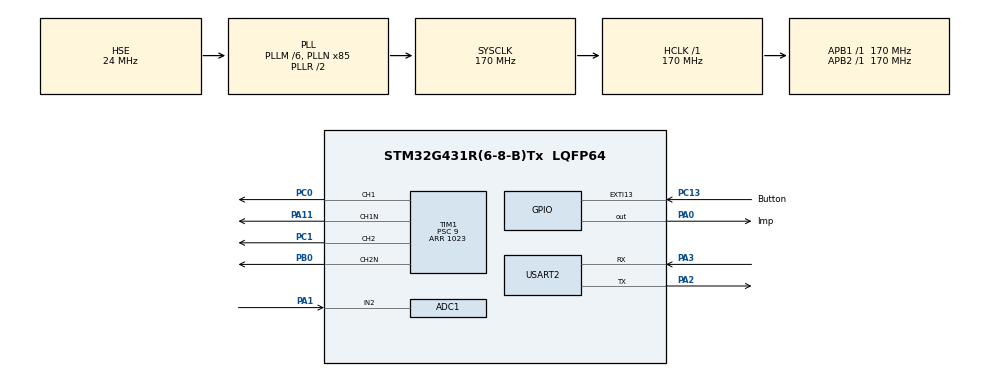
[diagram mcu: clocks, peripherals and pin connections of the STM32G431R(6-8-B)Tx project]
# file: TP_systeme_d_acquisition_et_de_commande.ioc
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ADC1.Channel-0\#ChannelRegularConversion=ADC_CHANNEL_2
ADC1.Channel-1\#ChannelRegularConversion=ADC_CHANNEL_2
ADC1.ExternalTrigConv=ADC_EXTERNALTRIG_T1_TRGO
ADC1.NbrOfConversion=2
ADC1.NbrOfConversionFlag=1
ADC1.OffsetNumber-0\#ChannelRegularConversion=ADC_OFFSET_NONE
ADC1.OffsetNumber-1\#ChannelRegularConversion=ADC_OFFSET_NONE
ADC1.Rank-0\#ChannelRegularConversion=1
ADC1.Rank-1\#ChannelRegularConversion=2
ADC1.SamplingTime-0\#ChannelRegularConversion=ADC_SAMPLETIME_12CYCLES_5
ADC1.SamplingTime-1\#ChannelRegularConversion=ADC_SAMPLETIME_12CYCLES_5
ADC1.master=1
Dma.ADC1.0.Direction=DMA_PERIPH_TO_MEMORY
Dma.ADC1.0.EventEnable=DISABLE
Dma.ADC1.0.Instance=DMA1_Channel2
Dma.ADC1.0.MemDataAlignment=DMA_MDATAALIGN_HALFWORD
Dma.ADC1.0.MemInc=DMA_MINC_ENABLE
Dma.ADC1.0.Mode=DMA_NORMAL
Dma.ADC1.0.PeriphDataAlignment=DMA_PDATAALIGN_HALFWORD
Dma.ADC1.0.PeriphInc=DMA_PINC_DISABLE
Dma.ADC1.0.Polarity=HAL_DMAMUX_REQ_GEN_RISING
Dma.ADC1.0.Priority=DMA_PRIORITY_LOW
Dma.ADC1.0.RequestNumber=1
Dma.ADC1.0.SignalID=NONE
Dma.ADC1.0.SyncEnable=DISABLE
Dma.ADC1.0.SyncPolarity=HAL_DMAMUX_SYNC_NO_EVENT
Dma.ADC1.0.SyncRequestNumber=1
Dma.ADC1.0.SyncSignalID=NONE
Dma.Request0=ADC1
Mcu.Family=STM32G4
Mcu.Name=STM32G431R(6-8-B)Tx
Mcu.Package=LQFP64
NVIC.DMA1_Channel2_IRQn=true\:0\:0\:false\:false\:true\:false\:true
NVIC.EXTI15_10_IRQn=true\:0\:0\:false\:false\:true\:true\:true
NVIC.PriorityGroup=NVIC_PRIORITYGROUP_4
NVIC.USART2_IRQn=true\:0\:0\:false\:false\:true\:true\:true
PA0.GPIO_Label=Imp
PA0.Signal=GPIO_Output
PA1.Mode=IN2-Single-Ended
PA1.Signal=ADC1_IN2
PA11.Mode=PWM Generation1 CH1 CH1N
PA11.Signal=TIM1_CH1N
PA13.Mode=Serial_Wire
PA13.Signal=SYS_JTMS-SWDIO
PA14.Mode=Serial_Wire
PA14.Signal=SYS_JTCK-SWCLK
PA2.Mode=Asynchronous
PA2.Signal=USART2_TX
PA3.Mode=Asynchronous
PA3.Signal=USART2_RX
PB0.Mode=PWM Generation2 CH2 CH2N
PB0.Signal=TIM1_CH2N
PC0.Signal=S_TIM1_CH1
PC1.Signal=S_TIM1_CH2
PC13.GPIO_Label=Button
PC13.Signal=GPXTI13
PF0-OSC_IN.Mode=HSE-External-Oscillator
PF0-OSC_IN.Signal=RCC_OSC_IN
PF1-OSC_OUT.Mode=HSE-External-Oscillator
PF1-OSC_OUT.Signal=RCC_OSC_OUT
ProjectManager.HeapSize=0x200
ProjectManager.StackSize=0x400
ProjectManager.TargetToolchain=STM32CubeIDE
RCC.ADC12Freq_Value=170000000
RCC.AHBFreq_Value=170000000
RCC.APB1Freq_Value=170000000
RCC.APB1TimFreq_Value=170000000
RCC.APB2Freq_Value=170000000
RCC.APB2TimFreq_Value=170000000
RCC.CortexFreq_Value=170000000
RCC.EXTERNAL_CLOCK_VALUE=12288000
RCC.HCLKFreq_Value=170000000
RCC.HSE_VALUE=24000000
RCC.HSI48_VALUE=48000000
RCC.HSI_VALUE=16000000
RCC.LSE_VALUE=32768
RCC.PLLM=RCC_PLLM_DIV6
RCC.PLLN=85
RCC.PLLSourceVirtual=RCC_PLLSOURCE_HSE
RCC.RTCClockSelection=RCC_RTCCLKSOURCE_LSE
RCC.SYSCLKFreq_VALUE=170000000
RCC.SYSCLKSource=RCC_SYSCLKSOURCE_PLLCLK
RCC.USBFreq_Value=170000000
RCC.VCOOutputFreq_Value=340000000
SH.S_TIM1_CH1.0=TIM1_CH1,PWM Generation1 CH1 CH1N
SH.S_TIM1_CH2.0=TIM1_CH2,PWM Generation2 CH2 CH2N
TIM1.Channel-PWM\ Generation1\ CH1\ CH1N=TIM_CHANNEL_1
TIM1.Channel-PWM\ Generation2\ CH2\ CH2N=TIM_CHANNEL_2
TIM1.DeadTime=208
TIM1.PeriodNoDither=1023
TIM1.Prescaler=9
TIM1.PulseNoDither_1=511
TIM1.PulseNoDither_2=511
TIM1.TIM_MasterOutputTrigger=TIM_TRGO_UPDATE
TIM1.TIM_MasterSlaveMode=TIM_MASTERSLAVEMODE_ENABLE
USART2.VirtualMode-Asynchronous=VM_ASYNC
VP_SYS_VS_DBSignals.Mode=DisableDeadBatterySignals
VP_TIM1_VS_ClockSourceINT.Mode=Internal
board=NUCLEO-G431RB

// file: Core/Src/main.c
/* USER CODE BEGIN Header */
/**
 ******************************************************************************
 * @file           : main.c
 * @brief          : Main program body
 ******************************************************************************
 * @attention
 *
 * <h2><center>&copy; Copyright (c) 2021 STMicroelectronics.
 * All rights reserved.</center></h2>
 *
 * This software component is licensed by ST under BSD 3-Clause license,
 * the "License"; You may not use this file except in compliance with the
 * License. You may obtain a copy of the License at:
 *                        opensource.org/licenses/BSD-3-Clause
 *
 ******************************************************************************
 */

/**
 * \file main.c
 * \brief Programme principal.
 * \author Eric.CHASSERGUE & Yohesan J.
 * \date 19 october 2021
 *
 * Programme d'ou les fonctions seront appelées.
 *
 */

/* USER CODE END Header */
#include "main.h"
#include "adc.h"
#include "dma.h"
#include "tim.h"
#include "usart.h"
#include "gpio.h"

/* USER CODE BEGIN Includes */
#include "Commande.h"
/* USER CODE END Includes */

/* USER CODE BEGIN PD */

// tailles des buffers
#define UART_RX_BUFFER_SIZE 50
#define UART_TX_BUFFER_SIZE 50
#define CMD_BUFFER_SIZE 50
/* USER CODE END PD */

/* USER CODE BEGIN PV */

char uart_rx_buffer[UART_RX_BUFFER_SIZE];
char uart_tx_buffer[UART_TX_BUFFER_SIZE];

const uint8_t starting[] = "Bienvenue \r\n";
const uint8_t prompt[]="<user>@Nucleo-G431 >> ";
const uint8_t bonjour[]="\r\nBonjour\r\n";
//const uint8_t prompt2[]="\r\n<user>@Nucleo-G431 >> ";

/**
 * Déclaration pour l'écho.
 */
int it_uart_rx_ready = 0;

/**
 * Déclaration pour la  commande.
 */
char cmd[CMD_BUFFER_SIZE]; //contenant la commande en cours
int idxCmd = 0; //contenant l'index du prochain caractère à remplir

/* USER CODE END PV */

void SystemClock_Config(void);
/* USER CODE BEGIN PFP */
/**
 * Redéfinition du callback.
 */
void HAL_UART_RxCpltCallback(UART_HandleTypeDef *);

/**
 * Prototypes de echo.
 */
void echo(void);

/**
 * Prototypes de stock.
 */
void stock(void);

/* USER CODE END PFP */

/* USER CODE BEGIN 0 */
/**
 * \fn void HAL_UART_RxCpltCallback(UART_HandleTypeDef *huart)
 * \brief Fonction qui change la valeur de it_uart_rx_ready.
 *
 * \param UART_HandleTypeDef *huart.
 */
void HAL_UART_RxCpltCallback(UART_HandleTypeDef *huart){
	if(it_uart_rx_ready==1) it_uart_rx_ready=0;
	else it_uart_rx_ready=1;
}

/**
 * \fn void echo(void)
 * \brief Fonction qui change la valeur de it_uart_rx_ready à 0 et affiche la lettre reçu sur l'écran.
 */
void echo(){
	HAL_UART_Transmit(&huart2, uart_rx_buffer, UART_RX_BUFFER_SIZE, HAL_MAX_DELAY);
	it_uart_rx_ready =0;
}

/**
 * \fn void stock(void)
 * \brief Fonction qui stock la lettre reçu dans le tableau cmd et vérifie si une commande à finie d'être entrée.
 */
void stock(){
	cmd[idxCmd] = uart_rx_buffer[0];
	if(cmd[idxCmd] == '\r') {
		int i = 0;

		commande(cmd);
		//Réinitialisation de la commande enregistré
		for(i=0;i<=idxCmd;i++){
			cmd[i]=0;
		}
		idxCmd = 0;
	}
	else if(cmd[idxCmd] == '\b'){
		idxCmd--;
	}
	else {
		idxCmd++;
	}
}

/**
 * @brief  Conversion complete callback in non-blocking mode.
 * @param hadc ADC handle
 * @retval None
 */

/**
 * \fn int main (void)
 * \brief Entrée du programme.
 */
/* USER CODE END 0 */

int main(void)
{

	/* MCU Configuration--------------------------------------------------------*/

	/* Reset of all peripherals, Initializes the Flash interface and the Systick. */
	HAL_Init();

	/* Configure the system clock */
	SystemClock_Config();

	/* Initialize all configured peripherals */
	MX_GPIO_Init();
	MX_USART2_UART_Init();
	MX_ADC1_Init();
	MX_DMA_Init();
	MX_TIM1_Init();
	/* USER CODE BEGIN 2 */
	//Initialisation des PWM
	HAL_TIM_PWM_Start(&htim1, TIM_CHANNEL_1);
	HAL_TIMEx_PWMN_Start(&htim1, TIM_CHANNEL_1);
	HAL_TIM_PWM_Start(&htim1, TIM_CHANNEL_2);
	HAL_TIMEx_PWMN_Start(&htim1, TIM_CHANNEL_2);

	it_uart_rx_ready = 0;
	idxCmd = 0;

	//Message de bienvenue
	HAL_UART_Transmit(&huart2, starting, sizeof(starting) , HAL_MAX_DELAY);
	HAL_UART_Transmit(&huart2, prompt, sizeof(prompt) , HAL_MAX_DELAY);

	/* USER CODE END 2 */

	/* Infinite loop */
	/* USER CODE BEGIN WHILE */
	while (1)
	{
		// test du bon fonctionnement de l'envoie des données
		/*sprintf(uart_tx_buffer, "tick \r\n");
	  HAL_UART_Transmit(&huart2, uart_tx_buffer,UART_TX_BUFFER_SIZE , HAL_MAX_DELAY);
	  HAL_Delay(1);*/

		HAL_UART_Receive_IT(&huart2, uart_rx_buffer, 1);
		while(it_uart_rx_ready) {
			echo();
			stock();
		}

		/* USER CODE END WHILE */

	}
}

void SystemClock_Config(void)
{
	RCC_OscInitTypeDef RCC_OscInitStruct = {0};
	RCC_ClkInitTypeDef RCC_ClkInitStruct = {0};
	RCC_PeriphCLKInitTypeDef PeriphClkInit = {0};

	/** Configure the main internal regulator output voltage
	 */
	HAL_PWREx_ControlVoltageScaling(PWR_REGULATOR_VOLTAGE_SCALE1_BOOST);
	/** Initializes the RCC Oscillators according to the specified parameters
	 * in the RCC_OscInitTypeDef structure.
	 */
	RCC_OscInitStruct.OscillatorType = RCC_OSCILLATORTYPE_HSE;
	RCC_OscInitStruct.HSEState = RCC_HSE_ON;
	RCC_OscInitStruct.PLL.PLLState = RCC_PLL_ON;
	RCC_OscInitStruct.PLL.PLLSource = RCC_PLLSOURCE_HSE;
	RCC_OscInitStruct.PLL.PLLM = RCC_PLLM_DIV6;
	RCC_OscInitStruct.PLL.PLLN = 85;
	RCC_OscInitStruct.PLL.PLLP = RCC_PLLP_DIV2;
	RCC_OscInitStruct.PLL.PLLQ = RCC_PLLQ_DIV2;
	RCC_OscInitStruct.PLL.PLLR = RCC_PLLR_DIV2;
	if (HAL_RCC_OscConfig(&RCC_OscInitStruct) != HAL_OK)
	{
		Error_Handler();
	}
	/** Initializes the CPU, AHB and APB buses clocks
	 */
	RCC_ClkInitStruct.ClockType = RCC_CLOCKTYPE_HCLK|RCC_CLOCKTYPE_SYSCLK
			|RCC_CLOCKTYPE_PCLK1|RCC_CLOCKTYPE_PCLK2;
	RCC_ClkInitStruct.SYSCLKSource = RCC_SYSCLKSOURCE_PLLCLK;
	RCC_ClkInitStruct.AHBCLKDivider = RCC_SYSCLK_DIV1;
	RCC_ClkInitStruct.APB1CLKDivider = RCC_HCLK_DIV1;
	RCC_ClkInitStruct.APB2CLKDivider = RCC_HCLK_DIV1;

	if (HAL_RCC_ClockConfig(&RCC_ClkInitStruct, FLASH_LATENCY_4) != HAL_OK)
	{
		Error_Handler();
	}
	/** Initializes the peripherals clocks
	 */
	PeriphClkInit.PeriphClockSelection = RCC_PERIPHCLK_USART2|RCC_PERIPHCLK_ADC12;
	PeriphClkInit.Usart2ClockSelection = RCC_USART2CLKSOURCE_PCLK1;
	PeriphClkInit.Adc12ClockSelection = RCC_ADC12CLKSOURCE_SYSCLK;
	if (HAL_RCCEx_PeriphCLKConfig(&PeriphClkInit) != HAL_OK)
	{
		Error_Handler();
	}
}

void Error_Handler(void)
{
	__disable_irq();
	while (1)
	{
	}
}

/************************ (C) COPYRIGHT STMicroelectronics *****END OF FILE****/
